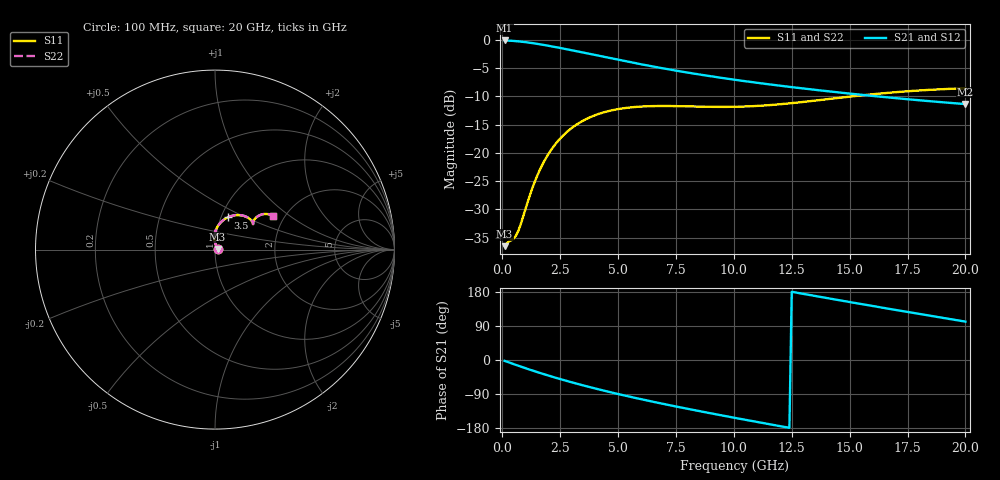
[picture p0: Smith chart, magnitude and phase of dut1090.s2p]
! Touchstone file exported from HFSS 2024.1.0
!  File:  C:/UserFiles/LocalFiles/RDL_TSV_Batchsim/temp_RDL_TSV_1090_1780097804.aedt
!  Generated:  07:49:24 AM May 30, 2026
!  Design:  RDL_TSV
!  Project:  temp_RDL_TSV_1090_1780097804
!  Setup:  Setup1
!  Solution:  Sweep
! Variables:
!  dtsv = 12.37um
!  hbump = 3um
!  htsv = 66.73um
!  ldown = 474.78um
!  lrdl = 633.51um
!  p = 40
!  p1 = 50.81um
!  rhole = 10um
!  subl = 3958.38um
!  t = 450um
!  tdown = 4.86um
!  trdl = 4.8um
!  viad = 10um
!  wdown = 24.59um
!  wrdl = 18.99um
!  xbump = 18um
# GHz S MA R 50.000000
! Terminal data exported
! Port[1] = TM1_1_T1
! Port[2] = TM1_4_T1
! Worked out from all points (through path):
!   200 points, 100 MHz to 20 GHz, reference 50 ohm
!   highest |S21| = -0.13 dB at 100 MHz (marker M1); lowest = -11.4 dB at 20 GHz (marker M2)
!   group delay of S21, straight-line fit = 34 ps
!   lowest |S11| = -36.5 dB at 100 MHz (marker M3), VSWR 1.03, Z = 51.5 + j0.314 ohm
!   |S11| at or under -10 dB: start of sweep to 15.15 GHz
!   |S22| runs from -36.5 to -8.6 dB; largest |S21 - S12| = 1e-14
!   S11 on the Smith chart (normalised r, x): 100 MHz: 1.03, +0.01; 3.5 GHz: 1.08, +0.40; 20 GHz: 1.74, +0.76
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0.1  0.01498 11.8  0.9848 -2.3  0.9848 -2.3  0.01498 11.8
! Gamma 0 0 0 0
! Port Impedance 50 0 50 0
0.6  0.01867 55.2  0.9709 -13.2  0.9709 -13.2  0.01867 55.3
0.8  0.02351 73.5  0.9621 -17.4  0.9621 -17.4  0.02353 73.6
1.2  0.04276 91.1  0.9398 -25.7  0.9398 -25.7  0.04285 91.2
1.4  0.05545 93.1  0.9268 -29.7  0.9268 -29.7  0.05558 93.2
1.7  0.07638 92.4  0.9058 -35.6  0.9058 -35.6  0.07657 92.5
2  0.09822 89.4  0.8836 -41.3  0.8836 -41.3  0.09848 89.5
2.3  0.1199 85.5  0.8608 -46.7  0.8608 -46.7  0.1202 85.6
2.7  0.1472 79.7  0.83 -53.8  0.83 -53.8  0.1476 79.8
3.5  0.1931 68.3  0.7692 -67.1  0.7692 -67.1  0.1937 68.3
4.2  0.2222 59.4  0.7187 -78.1  0.7187 -78.1  0.2229 59.5
5.1  0.2455 50.1  0.6591 -91.2  0.6591 -91.2  0.2464 50.2
5.9  0.2559 43.7  0.6119 -102.2  0.6119 -102.2  0.2568 43.8
6.8  0.2595 38.6  0.5651 -113.9  0.5651 -113.9  0.2605 38.6
8.4  0.2565 34.1  0.4969 -133.6  0.4969 -133.6  0.2575 34.1
10.1  0.2555 34.3  0.4408 -153.3  0.4408 -153.3  0.2564 34.3
11.7  0.2657 36.4  0.399 -171.3  0.399 -171.3  0.2664 36.4
13.4  0.2879 37.9  0.3626 170.1  0.3626 170.1  0.2885 37.9
15.1  0.3154 37.5  0.3324 151.9  0.3324 151.9  0.316 37.5
16.7  0.3398 35.7  0.3084 135.1  0.3084 135.1  0.3405 35.7
18.3  0.359 33.2  0.288 118.6  0.288 118.6  0.3598 33.2
20  0.3721 30.3  0.2698 101.3  0.2698 101.3  0.3731 30.3
